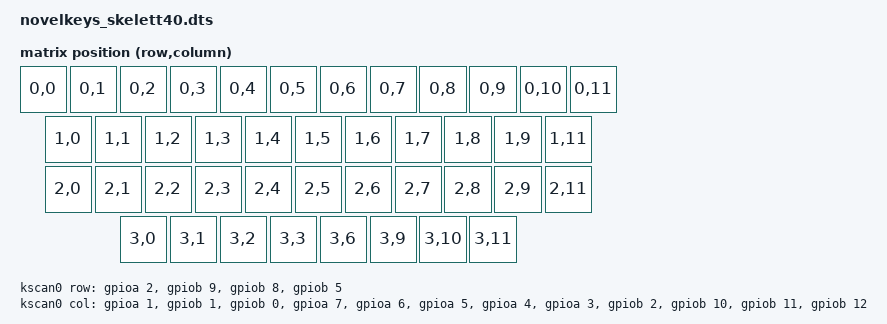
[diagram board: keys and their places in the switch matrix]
/*
 * Copyright (c) 2023 The ZMK Contributors
 * SPDX-License-Identifier: MIT
 */

/dts-v1/;

/dts-v1/;
#include <st/f0/stm32f072Xb.dtsi>
#include <st/f0/stm32f072v(8-b)tx-pinctrl.dtsi>
#include <dt-bindings/zmk/matrix_transform.h>
#include "novelkeys_skelett40-layouts.dtsi"

/ {

    chosen {
        zephyr,sram = &sram0;
        zephyr,flash = &flash0;
        zmk,kscan = &kscan0;
	zmk,physical-layout = &standard_layout;
    };

    // LED: gpioa9

    standard_transform: keymap_transform_0 {
        compatible = "zmk,matrix-transform";
        columns = <15>;
        rows = <5>;

//  ------- Switch Matrix ----------
//
//  Column     0 |   1 |   2 |   3 |   4 |   5 |   6 |   7 |   8 |   9 |  10 |  11 |  12 |  13 |  14 |
//          ==========================================================================================
//  Row 0 ||  S0 |  S1 |  S2 |  S3 |  S4 |  S5 |  S6 |  S7 |  S8 |  S9 | S10 | S11 | S12 | S13 | S14 |
//  Row 1 ||  S0 |  S1 |  S2 |  S3 |  S4 |  S5 |  S6 |  S7 |  S8 |  S9 | S10 | S11 | S12 | S13 | S14 |
//  Row 2 ||  S0 |  S1 |  S2 |  S3 |  S4 |  S5 |  S6 |  S7 |  S8 |  S9 | S10 | S11 | S12 |     | S13 |
//  Row 3 ||  S0 |  S1 |  S2 |  S3 |  S4 |  S5 |  S6 |  S7 |  S8 |  S9 | S10 | S11 |     | S12 | S13 |
//  Row 4 ||  S0 |  S1 |  S2 |     |     |     |  S3 |     |  S4 |  S5 | S6  |     | S7  | S8  | S9  |
//     -----------------------------------------------------------------------------------
//
        map = <
RC(0,0) RC(0,1) RC(0,2) RC(0,3) RC(0,4) RC(0,5) RC(0,6) RC(0,7) RC(0,8) RC(0,9) RC(0,10) RC(0,11)
RC(1,0)  RC(1,1) RC(1,2) RC(1,3) RC(1,4) RC(1,5) RC(1,6) RC(1,7) RC(1,8) RC(1,9)    RC(1,11)
RC(2,0)   RC(2,1) RC(2,2) RC(2,3) RC(2,4) RC(2,5) RC(2,6) RC(2,7) RC(2,8) RC(2,9)    RC(2,11)
RC(3,0) RC(3,1) RC(3,2)            RC(3,3)     RC(3,6)                    RC(3,9) RC(3,10) RC(3,11)         
        >;
    };

    kscan0: kscan {
        compatible = "zmk,kscan-gpio-matrix";

        diode-direction = "col2row";
        row-gpios
            = <&gpioa 2 (GPIO_ACTIVE_HIGH | GPIO_PULL_DOWN)>
            , <&gpiob 9 (GPIO_ACTIVE_HIGH | GPIO_PULL_DOWN)>
            , <&gpiob 8 (GPIO_ACTIVE_HIGH | GPIO_PULL_DOWN)>
            , <&gpiob 5 (GPIO_ACTIVE_HIGH | GPIO_PULL_DOWN)>
            ;
        col-gpios
            = <&gpioa 1 GPIO_ACTIVE_HIGH>
            , <&gpiob 1 GPIO_ACTIVE_HIGH>
            , <&gpiob 0 GPIO_ACTIVE_HIGH>
            , <&gpioa 7 GPIO_ACTIVE_HIGH>
            , <&gpioa 6 GPIO_ACTIVE_HIGH>
            , <&gpioa 5 GPIO_ACTIVE_HIGH>
            , <&gpioa 4 GPIO_ACTIVE_HIGH>
            , <&gpioa 3 GPIO_ACTIVE_HIGH>
            , <&gpiob 2 GPIO_ACTIVE_HIGH>
            , <&gpiob 10 GPIO_ACTIVE_HIGH>
            , <&gpiob 11 GPIO_ACTIVE_HIGH>
            , <&gpiob 12 GPIO_ACTIVE_HIGH>
            ;
    };
};

&gpioc { status = "disabled"; };
&gpiod { status = "disabled"; };
&gpioe { status = "disabled"; };
&gpiof { status = "disabled"; };

zephyr_udc0: &usb {
    status = "okay";

    pinctrl-0 = <&usb_dm_pa11 &usb_dp_pa12>;
    pinctrl-names = "default";

    num-bidir-endpoints = <4>;
};

&clk_hsi {
    status = "okay";
};

&clk_hsi48 {
    status = "okay";
};

&pll {
    prediv = <1>;
    mul = <6>;
    clocks = <&clk_hsi>;
    status = "okay";
};

&rcc {
    clocks = <&pll>;
    clock-frequency = <DT_FREQ_M(48)>;
    ahb-prescaler = <1>;
    apb1-prescaler = <1>;
};


&rtc {
    status = "okay";
};

&flash0 {
    /*
     * For more information, see:
     * http: //docs.zephyrproject.org/latest/guides/dts/index.html#flash-partitions
     */
    partitions {
        compatible = "fixed-partitions";
        #address-cells = <1>;
        #size-cells = <1>;

        /* Set 6Kb of storage at the end of the 128Kb of flash */
        storage_partition: partition@3e800 {
            reg = <0x0001e800 0x00001800>;
        };
    };
};

/ {
        sram@20003FFF {
                compatible = "zephyr,memory-region", "mmio-sram";
                reg = <0x20003FFF 0x1>;
                zephyr,memory-region = "RetainedMem";
                status = "okay";

                retainedmem {
                        compatible = "zephyr,retained-ram";
                        status = "okay";
                        #address-cells = <1>;
                        #size-cells = <1>;

                        retention0: retention@0 {
                                compatible = "zephyr,retention";
                                status = "okay";
                                reg = <0x0 0x1>;
                        };
                };
        };

        chosen {
                zephyr,boot-mode = &retention0;
        };
};

/* Reduce SRAM0 usage by 1 byte to account for non-init area */
&sram0 {
        reg = <0x20000000 0x3FFF>;
};
